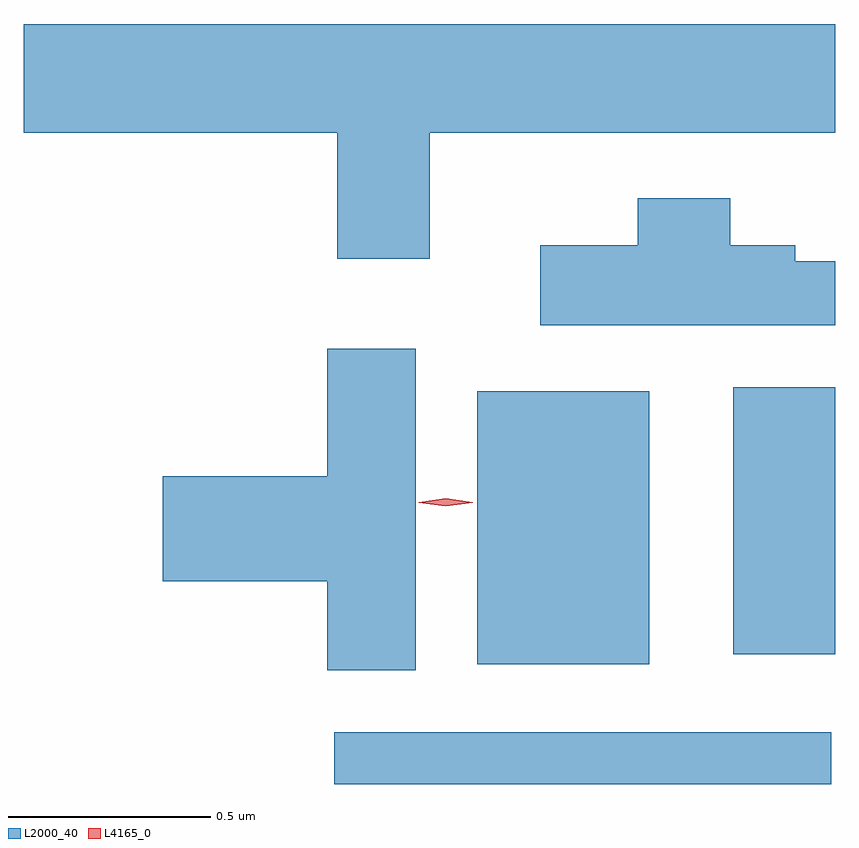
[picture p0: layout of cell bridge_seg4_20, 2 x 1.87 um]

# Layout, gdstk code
import gdstk
lib = gdstk.Library(unit=1e-6, precision=1e-09)
def R(c, l, rs):  # rectangles x0, y0, x1, y1
    for r in rs: c.add(gdstk.rectangle(r[:2], r[2:], *l))
def P(c, l, *ps):  # polygons
    for p in ps: c.add(gdstk.Polygon(p, *l))
L2000_40 = (2000, 40)
L4165_0 = (4165, 0)

bridge_seg4_20 = lib.new_cell('bridge_seg4_20')
R(bridge_seg4_20, L2000_40, [(1223.933,1255.391,1225.158,1255.519), (1224.286,1255.686,1224.709,1256.359), (1224.916,1255.711,1225.168,1256.369)])
P(bridge_seg4_20, L2000_40, [(1224.169,1256.996),(1225.168,1256.996),(1225.168,1257.264),(1223.168,1257.264),(1223.168,1256.996),(1223.941,1256.996),(1223.941,1256.686),(1224.169,1256.686)],
  [(1225.168,1256.679),(1225.069,1256.679),(1225.069,1256.719),(1224.909,1256.719),(1224.909,1256.834),(1224.681,1256.834),(1224.681,1256.719),(1224.441,1256.719),(1224.441,1256.521),(1225.168,1256.521)],
  [(1224.134,1256.464),(1223.916,1256.464),(1223.916,1256.149),(1223.511,1256.149),(1223.511,1255.891),(1223.916,1255.891),(1223.916,1255.671),(1224.134,1255.671)])
P(bridge_seg4_20, L4165_0, [(1224.208,1256.075),(1224.142,1256.084),(1224.141,1256.085),(1224.142,1256.085),(1224.208,1256.095),(1224.274,1256.085),(1224.275,1256.085),(1224.274,1256.084)])

lib.write_gds('bridge_seg4_20.gds')
